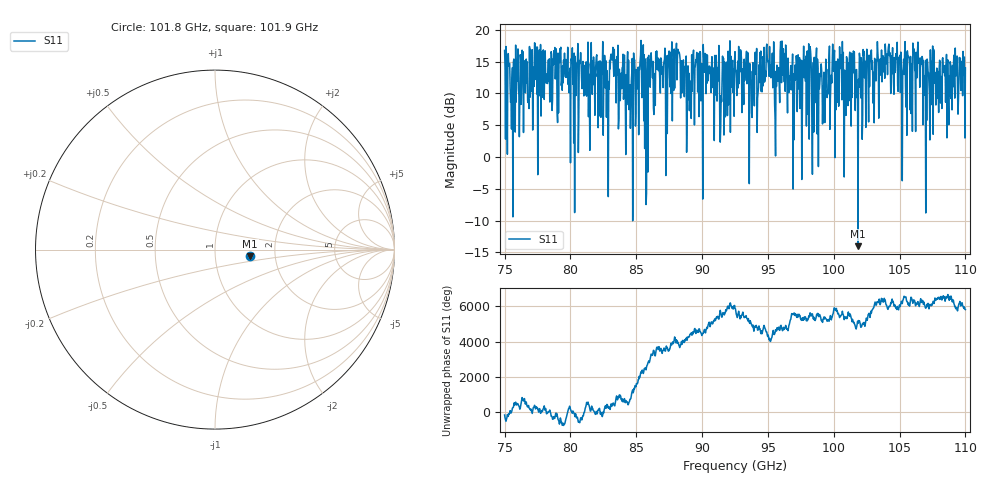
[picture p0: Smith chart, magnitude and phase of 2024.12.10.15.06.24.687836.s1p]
! Created with skrf (http://scikit-rf.org).
# GHz S RI R 50.0
!freq ReS11 ImS11
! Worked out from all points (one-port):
!   1001 points, 75 GHz to 110 GHz, reference 50 ohm
!   lowest |S11| = -14.0 dB at 101.8 GHz (marker M1), VSWR 1.50, Z = 74.2 - j5.53 ohm
!   |S11| at or under -10 dB: 84.72998 GHz to 84.73002 GHz (39.85 kHz wide, 4.7e-05 % of centre); 101.8393 GHz to 101.8503 GHz (11.01 MHz wide, 0.0108 % of centre)
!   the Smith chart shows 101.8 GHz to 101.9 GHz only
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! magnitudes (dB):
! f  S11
! 75 GHz  16.8
! 75.63 GHz  -9.4
! 75.84 GHz  17.6
! 79.38 GHz  10.5
! 82.84 GHz  8.9
! 83.16 GHz  15.3
! 83.75 GHz  11.9
! 84.59 GHz  8.0
! 85.43 GHz  9.3
! 85.75 GHz  -7.5
! 86.09 GHz  14.9
! 87.39 GHz  13.6
! 88.12 GHz  15.4
! 89 GHz  13.2
! 89.7 GHz  15.9
! 91.48 GHz  8.7
! 92.5 GHz  16.6
! 93.76 GHz  6.9
! 95.06 GHz  13.7
! 95.69 GHz  14.4
! 96.11 GHz  12.9
! 96.88 GHz  16.2
! 101.2 GHz  14.3
! 101.8 GHz  -14.0
! 104.1 GHz  13.0
! 105.6 GHz  16.0
! 107.1 GHz  14.8
! 110 GHz  14.0
